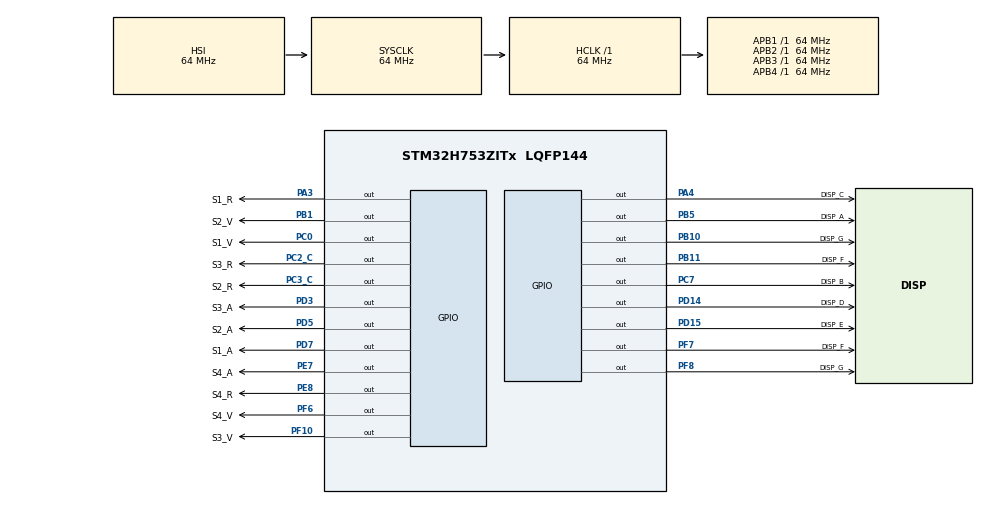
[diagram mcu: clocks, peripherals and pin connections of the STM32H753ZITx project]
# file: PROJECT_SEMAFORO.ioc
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CORTEX_M7.CPU_DCache=Disabled
CORTEX_M7.CPU_ICache=Disabled
CORTEX_M7.MPU_Control=MPU_PRIVILEGED_DEFAULT
CORTEX_M7.default_mode_Activation=1
Mcu.Family=STM32H7
Mcu.Name=STM32H753ZITx
Mcu.Package=LQFP144
NUCLEO-H753ZI.BUTTON=1
NUCLEO-H753ZI.LD1=true
NUCLEO-H753ZI.LD2=true
NUCLEO-H753ZI.LD3=true
NUCLEO-H753ZI.VCP=true
NVIC.EXTI15_10_IRQn=true\:0\:0\:false\:false\:true\:false\:true\:true
NVIC.PriorityGroup=NVIC_PRIORITYGROUP_4
PA3.GPIO_Label=S1_R
PA3.Signal=GPIO_Output
PA4.GPIO_Label=DISP_C
PA4.Signal=GPIO_Output
PB1.GPIO_Label=S2_V
PB1.Signal=GPIO_Output
PB10.GPIO_Label=DISP_G
PB10.Signal=GPIO_Output
PB11.GPIO_Label=DISP_F
PB11.Signal=GPIO_Output
PB5.GPIO_Label=DISP_A
PB5.Signal=GPIO_Output
PC0.GPIO_Label=S1_V
PC0.Signal=GPIO_Output
PC14-OSC32_IN\ (OSC32_IN).Signal=RCC_OSC32_IN
PC15-OSC32_OUT\ (OSC32_OUT).Signal=RCC_OSC32_OUT
PC2_C.GPIO_Label=S3_R
PC2_C.Signal=GPIO_Output
PC3_C.GPIO_Label=S2_R
PC3_C.Signal=GPIO_Output
PC7.GPIO_Label=DISP_B
PC7.Signal=GPIO_Output
PD14.GPIO_Label=DISP_D
PD14.Signal=GPIO_Output
PD15.GPIO_Label=DISP_E
PD15.Signal=GPIO_Output
PD3.GPIO_Label=S3_A
PD3.Signal=GPIO_Output
PD5.GPIO_Label=S2_A
PD5.Signal=GPIO_Output
PD7.GPIO_Label=S1_A
PD7.Signal=GPIO_Output
PD8.Signal=USART3_TX
PD9.Signal=USART3_RX
PE7.GPIO_Label=S4_A
PE7.Signal=GPIO_Output
PE8.GPIO_Label=S4_R
PE8.Signal=GPIO_Output
PF10.GPIO_Label=S3_V
PF10.Signal=GPIO_Output
PF6.GPIO_Label=S4_V
PF6.Signal=GPIO_Output
PF7.GPIO_Label=DISP_F
PF7.Signal=GPIO_Output
PF8.GPIO_Label=DISP_G
PF8.Signal=GPIO_Output
PH0-OSC_IN\ (PH0).Signal=RCC_OSC_IN
PH1-OSC_OUT\ (PH1).Signal=RCC_OSC_OUT
ProjectManager.HeapSize=0x200
ProjectManager.StackSize=0x400
ProjectManager.TargetToolchain=CMake
RCC.ADCFreq_Value=129000000
RCC.APB1Freq_Value=64000000
RCC.APB2Freq_Value=64000000
RCC.APB3Freq_Value=64000000
RCC.APB4Freq_Value=64000000
RCC.CortexFreq_Value=64000000
RCC.DIVM1=1
RCC.DIVN1=24
RCC.DIVQ1=4
RCC.HCLKFreq_Value=64000000
RCC.HSE_VALUE=8000000
RCC.PLLFRACN=0
RCC.PWR_Regulator_Voltage_Scale=PWR_REGULATOR_VOLTAGE_SCALE2
RCC.SYSCLKFreq_VALUE=64000000
RCC.USBFreq_Value=384000000
VP_NUCLEO-H753ZI_VS_BSP_COMMON.Mode=COMMON
board=NUCLEO-H753ZI

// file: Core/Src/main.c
/* USER CODE BEGIN Header */
/**
  ******************************************************************************
  * @file           : main.c
  * @brief          : Main program body
  ******************************************************************************
  * @attention
  *
  * Copyright (c) 2026 STMicroelectronics.
  * All rights reserved.
  *
  * This software is licensed under terms that can be found in the LICENSE file
  * in the root directory of this software component.
  * If no LICENSE file comes with this software, it is provided AS-IS.
  *
  ******************************************************************************
  */
/* USER CODE END Header */
#include "main.h"

COM_InitTypeDef BspCOMInit;

/* USER CODE BEGIN PV */

/* Un pin = puerto + numero (los nombres vienen de las etiquetas puestas en el .ioc) */
typedef struct
{
  GPIO_TypeDef *puerto;
  uint16_t      pin;
} Pin;

/* Colores: tambien son la posicion de cada luz dentro de luces[s][] */
enum { ROJO = 0, AMARILLO = 1, VERDE = 2 };

/* luces[semaforo][color]: semaforo 0 = S1 ... semaforo 3 = S4 */
static const Pin luces[4][3] =
{
  { {S1_R_GPIO_Port, S1_R_Pin}, {S1_A_GPIO_Port, S1_A_Pin}, {S1_V_GPIO_Port, S1_V_Pin} },
  { {S2_R_GPIO_Port, S2_R_Pin}, {S2_A_GPIO_Port, S2_A_Pin}, {S2_V_GPIO_Port, S2_V_Pin} },
  { {S3_R_GPIO_Port, S3_R_Pin}, {S3_A_GPIO_Port, S3_A_Pin}, {S3_V_GPIO_Port, S3_V_Pin} },
  { {S4_R_GPIO_Port, S4_R_Pin}, {S4_A_GPIO_Port, S4_A_Pin}, {S4_V_GPIO_Port, S4_V_Pin} },
};

/* Segmentos a..g del display (catodo comun: SET = encendido), va en el semaforo S1 */
static const Pin segmentos[7] =
{
  {DISP_A_GPIO_Port, DISP_A_Pin},       {DISP_B_GPIO_Port, DISP_B_Pin},
  {DISP_C_GPIO_Port, DISP_C_Pin},       {DISP_D_GPIO_Port, DISP_D_Pin},
  {DISP_E_GPIO_Port, DISP_E_Pin},       {DISP_FB11_GPIO_Port, DISP_FB11_Pin},
  {DISP_GB10_GPIO_Port, DISP_GB10_Pin},
};

/* Que segmentos se encienden para cada numero (bit 0 = a ... bit 6 = g) */
static const uint8_t numeros[10] =
{
  0x3F, 0x06, 0x5B, 0x4F, 0x66, 0x6D, 0x7D, 0x07, 0x7F, 0x6F
};

#define TIEMPO_VERDE_MS     5000
#define TIEMPO_AMARILLO_MS  2000

/* USER CODE END PV */

void SystemClock_Config(void);
static void MPU_Config(void);
static void MX_GPIO_Init(void);
/* USER CODE BEGIN PFP */
static void PonerColor(int semaforo, int color);
static void TodosEnRojoMenos(int semaforo);
static void MostrarNumero(int numero);
static void ApagarDisplay(void);
/* USER CODE END PFP */

int main(void)
{

  /* MPU Configuration--------------------------------------------------------*/
  MPU_Config();

  /* MCU Configuration--------------------------------------------------------*/

  /* Reset of all peripherals, Initializes the Flash interface and the Systick. */
  HAL_Init();

  /* Configure the system clock */
  SystemClock_Config();

  /* Initialize all configured peripherals */
  MX_GPIO_Init();

  /* Initialize leds */
  BSP_LED_Init(LED_GREEN);
  BSP_LED_Init(LED_YELLOW);
  BSP_LED_Init(LED_RED);

  /* Initialize USER push-button, will be used to trigger an interrupt each time it's pressed.*/
  BSP_PB_Init(BUTTON_USER, BUTTON_MODE_EXTI);

  /* Initialize COM1 port (115200, 8 bits (7-bit data + 1 stop bit), no parity */
  BspCOMInit.BaudRate   = 115200;
  BspCOMInit.WordLength = COM_WORDLENGTH_8B;
  BspCOMInit.StopBits   = COM_STOPBITS_1;
  BspCOMInit.Parity     = COM_PARITY_NONE;
  BspCOMInit.HwFlowCtl  = COM_HWCONTROL_NONE;
  if (BSP_COM_Init(COM1, &BspCOMInit) != BSP_ERROR_NONE)
  {
    Error_Handler();
  }

  /* Infinite loop */
  while (1)
  {

    /* USER CODE BEGIN 3 */
    /* Una vuelta: cada semaforo tiene su verde y su amarillo, uno detras de otro */
    for (int s = 0; s < 4; s++)
    {
      /* Verde */
      TodosEnRojoMenos(s);
      PonerColor(s, VERDE);
      if (s == 3)
      {
        /* Mientras S4 esta en verde, el display de S1 cuenta 9..1 (1 segundo cada numero) */
        for (int n = 9; n > 0; n--)
        {
          MostrarNumero(n);
          HAL_Delay(1000);
        }
        ApagarDisplay();
      }
      else
      {
        HAL_Delay(TIEMPO_VERDE_MS);
      }

      /* Amarillo */
      PonerColor(s, AMARILLO);
      if (s == 3)
      {
        PonerColor(0, AMARILLO);   /* S1 tambien en amarillo: "preparate" */
      }
      HAL_Delay(TIEMPO_AMARILLO_MS);
    }
  }
  /* USER CODE END 3 */
}

void SystemClock_Config(void)
{
  RCC_OscInitTypeDef RCC_OscInitStruct = {0};
  RCC_ClkInitTypeDef RCC_ClkInitStruct = {0};

  /** Supply configuration update enable
  */
  HAL_PWREx_ConfigSupply(PWR_LDO_SUPPLY);

  /** Configure the main internal regulator output voltage
  */
  __HAL_PWR_VOLTAGESCALING_CONFIG(PWR_REGULATOR_VOLTAGE_SCALE2);

  while(!__HAL_PWR_GET_FLAG(PWR_FLAG_VOSRDY)) {}

  /** Initializes the RCC Oscillators according to the specified parameters
  * in the RCC_OscInitTypeDef structure.
  */
  RCC_OscInitStruct.OscillatorType = RCC_OSCILLATORTYPE_HSI;
  RCC_OscInitStruct.HSIState = RCC_HSI_DIV1;
  RCC_OscInitStruct.HSICalibrationValue = RCC_HSICALIBRATION_DEFAULT;
  RCC_OscInitStruct.PLL.PLLState = RCC_PLL_NONE;
  if (HAL_RCC_OscConfig(&RCC_OscInitStruct) != HAL_OK)
  {
    Error_Handler();
  }

  /** Initializes the CPU, AHB and APB buses clocks
  */
  RCC_ClkInitStruct.ClockType = RCC_CLOCKTYPE_HCLK|RCC_CLOCKTYPE_SYSCLK
                              |RCC_CLOCKTYPE_PCLK1|RCC_CLOCKTYPE_PCLK2
                              |RCC_CLOCKTYPE_D3PCLK1|RCC_CLOCKTYPE_D1PCLK1;
  RCC_ClkInitStruct.SYSCLKSource = RCC_SYSCLKSOURCE_HSI;
  RCC_ClkInitStruct.SYSCLKDivider = RCC_SYSCLK_DIV1;
  RCC_ClkInitStruct.AHBCLKDivider = RCC_HCLK_DIV1;
  RCC_ClkInitStruct.APB3CLKDivider = RCC_APB3_DIV1;
  RCC_ClkInitStruct.APB1CLKDivider = RCC_APB1_DIV1;
  RCC_ClkInitStruct.APB2CLKDivider = RCC_APB2_DIV1;
  RCC_ClkInitStruct.APB4CLKDivider = RCC_APB4_DIV1;

  if (HAL_RCC_ClockConfig(&RCC_ClkInitStruct, FLASH_LATENCY_1) != HAL_OK)
  {
    Error_Handler();
  }
}

static void MX_GPIO_Init(void)
{
  GPIO_InitTypeDef GPIO_InitStruct = {0};

  /* GPIO Ports Clock Enable */
  __HAL_RCC_GPIOC_CLK_ENABLE();
  __HAL_RCC_GPIOF_CLK_ENABLE();
  __HAL_RCC_GPIOH_CLK_ENABLE();
  __HAL_RCC_GPIOA_CLK_ENABLE();
  __HAL_RCC_GPIOB_CLK_ENABLE();
  __HAL_RCC_GPIOE_CLK_ENABLE();
  __HAL_RCC_GPIOD_CLK_ENABLE();

  /*Configure GPIO pin Output Level */
  HAL_GPIO_WritePin(GPIOF, S4_V_Pin|DISP_F_Pin|DISP_G_Pin|S3_V_Pin, GPIO_PIN_RESET);

  /*Configure GPIO pin Output Level */
  HAL_GPIO_WritePin(GPIOC, S1_V_Pin|S3_R_Pin|S2_R_Pin|DISP_B_Pin, GPIO_PIN_RESET);

  /*Configure GPIO pin Output Level */
  HAL_GPIO_WritePin(GPIOA, S1_R_Pin|DISP_C_Pin, GPIO_PIN_RESET);

  /*Configure GPIO pin Output Level */
  HAL_GPIO_WritePin(GPIOB, S2_V_Pin|DISP_GB10_Pin|DISP_FB11_Pin|DISP_A_Pin, GPIO_PIN_RESET);

  /*Configure GPIO pin Output Level */
  HAL_GPIO_WritePin(GPIOE, S4_A_Pin|S4_R_Pin, GPIO_PIN_RESET);

  /*Configure GPIO pin Output Level */
  HAL_GPIO_WritePin(GPIOD, DISP_D_Pin|DISP_E_Pin|S3_A_Pin|S2_A_Pin
                          |S1_A_Pin, GPIO_PIN_RESET);

  /*Configure GPIO pins : S4_V_Pin DISP_F_Pin DISP_G_Pin S3_V_Pin */
  GPIO_InitStruct.Pin = S4_V_Pin|DISP_F_Pin|DISP_G_Pin|S3_V_Pin;
  GPIO_InitStruct.Mode = GPIO_MODE_OUTPUT_PP;
  GPIO_InitStruct.Pull = GPIO_NOPULL;
  GPIO_InitStruct.Speed = GPIO_SPEED_FREQ_LOW;
  HAL_GPIO_Init(GPIOF, &GPIO_InitStruct);

  /*Configure GPIO pins : S1_V_Pin S3_R_Pin S2_R_Pin DISP_B_Pin */
  GPIO_InitStruct.Pin = S1_V_Pin|S3_R_Pin|S2_R_Pin|DISP_B_Pin;
  GPIO_InitStruct.Mode = GPIO_MODE_OUTPUT_PP;
  GPIO_InitStruct.Pull = GPIO_NOPULL;
  GPIO_InitStruct.Speed = GPIO_SPEED_FREQ_LOW;
  HAL_GPIO_Init(GPIOC, &GPIO_InitStruct);

  /*Configure GPIO pins : S1_R_Pin DISP_C_Pin */
  GPIO_InitStruct.Pin = S1_R_Pin|DISP_C_Pin;
  GPIO_InitStruct.Mode = GPIO_MODE_OUTPUT_PP;
  GPIO_InitStruct.Pull = GPIO_NOPULL;
  GPIO_InitStruct.Speed = GPIO_SPEED_FREQ_LOW;
  HAL_GPIO_Init(GPIOA, &GPIO_InitStruct);

  /*Configure GPIO pins : S2_V_Pin DISP_GB10_Pin DISP_FB11_Pin DISP_A_Pin */
  GPIO_InitStruct.Pin = S2_V_Pin|DISP_GB10_Pin|DISP_FB11_Pin|DISP_A_Pin;
  GPIO_InitStruct.Mode = GPIO_MODE_OUTPUT_PP;
  GPIO_InitStruct.Pull = GPIO_NOPULL;
  GPIO_InitStruct.Speed = GPIO_SPEED_FREQ_LOW;
  HAL_GPIO_Init(GPIOB, &GPIO_InitStruct);

  /*Configure GPIO pins : S4_A_Pin S4_R_Pin */
  GPIO_InitStruct.Pin = S4_A_Pin|S4_R_Pin;
  GPIO_InitStruct.Mode = GPIO_MODE_OUTPUT_PP;
  GPIO_InitStruct.Pull = GPIO_NOPULL;
  GPIO_InitStruct.Speed = GPIO_SPEED_FREQ_LOW;
  HAL_GPIO_Init(GPIOE, &GPIO_InitStruct);

  /*Configure GPIO pins : DISP_D_Pin DISP_E_Pin S3_A_Pin S2_A_Pin
                           S1_A_Pin */
  GPIO_InitStruct.Pin = DISP_D_Pin|DISP_E_Pin|S3_A_Pin|S2_A_Pin
                          |S1_A_Pin;
  GPIO_InitStruct.Mode = GPIO_MODE_OUTPUT_PP;
  GPIO_InitStruct.Pull = GPIO_NOPULL;
  GPIO_InitStruct.Speed = GPIO_SPEED_FREQ_LOW;
  HAL_GPIO_Init(GPIOD, &GPIO_InitStruct);

  /*AnalogSwitch Config */
  HAL_SYSCFG_AnalogSwitchConfig(SYSCFG_SWITCH_PC2, SYSCFG_SWITCH_PC2_CLOSE);

  /*AnalogSwitch Config */
  HAL_SYSCFG_AnalogSwitchConfig(SYSCFG_SWITCH_PC3, SYSCFG_SWITCH_PC3_CLOSE);

}

/* USER CODE BEGIN 4 */

/* Enciende solo la luz 'color' del semaforo y apaga las otras dos */
static void PonerColor(int semaforo, int color)
{
  for (int c = 0; c < 3; c++)
  {
    HAL_GPIO_WritePin(luces[semaforo][c].puerto, luces[semaforo][c].pin,
                      (c == color) ? GPIO_PIN_SET : GPIO_PIN_RESET);
  }
}

/* Pone en rojo todos los semaforos excepto el indicado */
static void TodosEnRojoMenos(int semaforo)
{
  for (int s = 0; s < 4; s++)
  {
    if (s != semaforo)
    {
      PonerColor(s, ROJO);
    }
  }
}

/* Dibuja un numero de 0 a 9 en el display */
static void MostrarNumero(int numero)
{
  for (int i = 0; i < 7; i++)
  {
    HAL_GPIO_WritePin(segmentos[i].puerto, segmentos[i].pin,
                      ((numeros[numero] >> i) & 1) ? GPIO_PIN_SET : GPIO_PIN_RESET);
  }
}

static void ApagarDisplay(void)
{
  for (int i = 0; i < 7; i++)
  {
    HAL_GPIO_WritePin(segmentos[i].puerto, segmentos[i].pin, GPIO_PIN_RESET);
  }
}

/* USER CODE END 4 */

 /* MPU Configuration */

void MPU_Config(void)
{
  MPU_Region_InitTypeDef MPU_InitStruct = {0};

  /* Disables the MPU */
  HAL_MPU_Disable();

  /** Initializes and configures the Region and the memory to be protected
  */
  MPU_InitStruct.Enable = MPU_REGION_ENABLE;
  MPU_InitStruct.Number = MPU_REGION_NUMBER0;
  MPU_InitStruct.BaseAddress = 0x0;
  MPU_InitStruct.Size = MPU_REGION_SIZE_4GB;
  MPU_InitStruct.SubRegionDisable = 0x87;
  MPU_InitStruct.TypeExtField = MPU_TEX_LEVEL0;
  MPU_InitStruct.AccessPermission = MPU_REGION_NO_ACCESS;
  MPU_InitStruct.DisableExec = MPU_INSTRUCTION_ACCESS_DISABLE;
  MPU_InitStruct.IsShareable = MPU_ACCESS_SHAREABLE;
  MPU_InitStruct.IsCacheable = MPU_ACCESS_NOT_CACHEABLE;
  MPU_InitStruct.IsBufferable = MPU_ACCESS_NOT_BUFFERABLE;

  HAL_MPU_ConfigRegion(&MPU_InitStruct);
  /* Enables the MPU */
  HAL_MPU_Enable(MPU_PRIVILEGED_DEFAULT);

}

void Error_Handler(void)
{
  __disable_irq();
  while (1)
  {
  }
}
